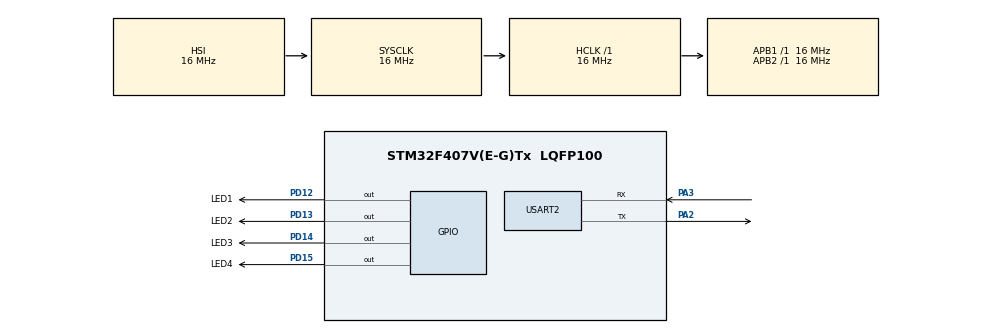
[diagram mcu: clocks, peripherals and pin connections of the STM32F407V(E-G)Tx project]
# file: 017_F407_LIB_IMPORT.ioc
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Dma.Request0=USART2_RX
Dma.Request1=USART2_TX
Dma.USART2_RX.0.Direction=DMA_PERIPH_TO_MEMORY
Dma.USART2_RX.0.FIFOMode=DMA_FIFOMODE_DISABLE
Dma.USART2_RX.0.Instance=DMA1_Stream5
Dma.USART2_RX.0.MemDataAlignment=DMA_MDATAALIGN_BYTE
Dma.USART2_RX.0.MemInc=DMA_MINC_ENABLE
Dma.USART2_RX.0.Mode=DMA_NORMAL
Dma.USART2_RX.0.PeriphDataAlignment=DMA_PDATAALIGN_BYTE
Dma.USART2_RX.0.PeriphInc=DMA_PINC_DISABLE
Dma.USART2_RX.0.Priority=DMA_PRIORITY_LOW
Dma.USART2_TX.1.Direction=DMA_MEMORY_TO_PERIPH
Dma.USART2_TX.1.FIFOMode=DMA_FIFOMODE_DISABLE
Dma.USART2_TX.1.Instance=DMA1_Stream6
Dma.USART2_TX.1.MemDataAlignment=DMA_MDATAALIGN_BYTE
Dma.USART2_TX.1.MemInc=DMA_MINC_ENABLE
Dma.USART2_TX.1.Mode=DMA_NORMAL
Dma.USART2_TX.1.PeriphDataAlignment=DMA_PDATAALIGN_BYTE
Dma.USART2_TX.1.PeriphInc=DMA_PINC_DISABLE
Dma.USART2_TX.1.Priority=DMA_PRIORITY_LOW
Mcu.Family=STM32F4
Mcu.Name=STM32F407V(E-G)Tx
Mcu.Package=LQFP100
NVIC.DMA1_Stream5_IRQn=true\:0\:0\:false\:false\:true\:false\:true\:true
NVIC.DMA1_Stream6_IRQn=true\:0\:0\:false\:false\:true\:false\:true\:true
NVIC.PriorityGroup=NVIC_PRIORITYGROUP_4
NVIC.TIM1_UP_TIM10_IRQn=true\:0\:0\:false\:false\:true\:true\:true\:true
NVIC.USART2_IRQn=true\:0\:0\:false\:false\:true\:true\:true\:true
PA13.Mode=Serial_Wire
PA13.Signal=SYS_JTMS-SWDIO
PA14.Mode=Serial_Wire
PA14.Signal=SYS_JTCK-SWCLK
PA2.Mode=Asynchronous
PA2.Signal=USART2_TX
PA3.Mode=Asynchronous
PA3.Signal=USART2_RX
PC14-OSC32_IN.Mode=LSE-External-Oscillator
PC14-OSC32_IN.Signal=RCC_OSC32_IN
PC15-OSC32_OUT.Mode=LSE-External-Oscillator
PC15-OSC32_OUT.Signal=RCC_OSC32_OUT
PD12.GPIO_Label=LED1
PD12.Signal=GPIO_Output
PD13.GPIO_Label=LED2
PD13.Signal=GPIO_Output
PD14.GPIO_Label=LED3
PD14.Signal=GPIO_Output
PD15.GPIO_Label=LED4
PD15.Signal=GPIO_Output
PH0-OSC_IN.Mode=HSE-External-Oscillator
PH0-OSC_IN.Signal=RCC_OSC_IN
PH1-OSC_OUT.Mode=HSE-External-Oscillator
PH1-OSC_OUT.Signal=RCC_OSC_OUT
ProjectManager.HeapSize=0x200
ProjectManager.StackSize=0x400
ProjectManager.TargetToolchain=STM32CubeIDE
RCC.AHBFreq_Value=16000000
RCC.APB1Freq_Value=16000000
RCC.APB2Freq_Value=16000000
RCC.CortexFreq_Value=16000000
RCC.HSE_VALUE=25000000
RCC.HSI_VALUE=16000000
RCC.SYSCLKFreq_VALUE=16000000
RCC.VCOOutputFreq_Value=192000000
USART2.VirtualMode=VM_ASYNC
VP_TIM10_VS_ClockSourceINT.Mode=Enable_Timer
VP_TIM1_VS_ClockSourceINT.Mode=Internal
board=custom

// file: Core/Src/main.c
/* USER CODE BEGIN Header */
/**
  ******************************************************************************
  * @file           : main.c
  * @brief          : Main program body
  ******************************************************************************
  * @attention
  *
  * Copyright (c) 2024 STMicroelectronics.
  * All rights reserved.
  *
  * This software is licensed under terms that can be found in the LICENSE file
  * in the root directory of this software component.
  * If no LICENSE file comes with this software, it is provided AS-IS.
  *
  ******************************************************************************
  */
/* USER CODE END Header */
#include "main.h"

/* USER CODE BEGIN Includes */
#include <PetitModbus.h>
/* USER CODE END Includes */

/* USER CODE BEGIN PD */
unsigned int c = 1 ;
unsigned char rx_putch;
/* USER CODE END PD */

TIM_HandleTypeDef htim1;
TIM_HandleTypeDef htim10;

UART_HandleTypeDef huart2;
DMA_HandleTypeDef hdma_usart2_rx;
DMA_HandleTypeDef hdma_usart2_tx;

void SystemClock_Config(void);
static void MX_GPIO_Init(void);
static void MX_DMA_Init(void);
static void MX_USART2_UART_Init(void);
static void MX_TIM1_Init(void);
static void MX_TIM10_Init(void);

int main(void)
{

  /* MCU Configuration--------------------------------------------------------*/

  /* Reset of all peripherals, Initializes the Flash interface and the Systick. */  HAL_Init();

  /* Configure the system clock */
  SystemClock_Config();

  /* Initialize all configured peripherals */
  MX_GPIO_Init();
  MX_DMA_Init();
  MX_USART2_UART_Init();
  MX_TIM1_Init();
  MX_TIM10_Init();
  /* USER CODE BEGIN 2 */
  HAL_UART_Receive_DMA(&huart2, (uint8_t *)&rx_putch , 1);

  void LEDS(){
  	  if(PetitRegisters[0].ActValue==1){
  		  HAL_GPIO_WritePin(GPIOD, LED1_Pin, GPIO_PIN_SET);
  	  }
  	  else{
  		HAL_GPIO_WritePin(GPIOD, LED1_Pin, GPIO_PIN_RESET);
  	  }
  	if(PetitRegisters[1].ActValue==1){
  	  		  HAL_GPIO_WritePin(GPIOD, LED2_Pin, GPIO_PIN_SET);
  	  	  }
  	  	  else{
  	  		HAL_GPIO_WritePin(GPIOD, LED2_Pin, GPIO_PIN_RESET);
  	  	  }
  	if(PetitRegisters[2].ActValue==1){
  	  		  HAL_GPIO_WritePin(GPIOD, LED3_Pin, GPIO_PIN_SET);
  	  	  }
  	  	  else{
  	  		HAL_GPIO_WritePin(GPIOD, LED3_Pin, GPIO_PIN_RESET);
  	  	  }
  	if(PetitRegisters[3].ActValue==1){
  	  		  HAL_GPIO_WritePin(GPIOD, LED4_Pin, GPIO_PIN_SET);
  	  	  }
  	  	  else{
  	  		HAL_GPIO_WritePin(GPIOD, LED4_Pin, GPIO_PIN_RESET);
  	  	  }

  }

	void COPY(){
		PetitRegisters[5]=PetitRegisters[4];
	}

  /* USER CODE END 2 */

  /* Infinite loop */
  while (1)
  {

    /* USER CODE BEGIN 3 */
	  InitPetitModbus(1);
	  ProcessPetitModbus();
	  LEDS();
	  COPY();
  }
  /* USER CODE END 3 */
}

void SystemClock_Config(void)
{
  RCC_OscInitTypeDef RCC_OscInitStruct = {0};
  RCC_ClkInitTypeDef RCC_ClkInitStruct = {0};

  /** Configure the main internal regulator output voltage
  */
  __HAL_RCC_PWR_CLK_ENABLE();
  __HAL_PWR_VOLTAGESCALING_CONFIG(PWR_REGULATOR_VOLTAGE_SCALE1);

  /** Initializes the RCC Oscillators according to the specified parameters
  * in the RCC_OscInitTypeDef structure.
  */
  RCC_OscInitStruct.OscillatorType = RCC_OSCILLATORTYPE_HSI;
  RCC_OscInitStruct.HSIState = RCC_HSI_ON;
  RCC_OscInitStruct.HSICalibrationValue = RCC_HSICALIBRATION_DEFAULT;
  RCC_OscInitStruct.PLL.PLLState = RCC_PLL_NONE;
  if (HAL_RCC_OscConfig(&RCC_OscInitStruct) != HAL_OK)
  {
    Error_Handler();
  }

  /** Initializes the CPU, AHB and APB buses clocks
  */
  RCC_ClkInitStruct.ClockType = RCC_CLOCKTYPE_HCLK|RCC_CLOCKTYPE_SYSCLK
                              |RCC_CLOCKTYPE_PCLK1|RCC_CLOCKTYPE_PCLK2;
  RCC_ClkInitStruct.SYSCLKSource = RCC_SYSCLKSOURCE_HSI;
  RCC_ClkInitStruct.AHBCLKDivider = RCC_SYSCLK_DIV1;
  RCC_ClkInitStruct.APB1CLKDivider = RCC_HCLK_DIV1;
  RCC_ClkInitStruct.APB2CLKDivider = RCC_HCLK_DIV1;

  if (HAL_RCC_ClockConfig(&RCC_ClkInitStruct, FLASH_LATENCY_0) != HAL_OK)
  {
    Error_Handler();
  }
}

static void MX_TIM1_Init(void)
{

  TIM_ClockConfigTypeDef sClockSourceConfig = {0};
  TIM_MasterConfigTypeDef sMasterConfig = {0};

  htim1.Instance = TIM1;
  htim1.Init.Prescaler = 0;
  htim1.Init.CounterMode = TIM_COUNTERMODE_UP;
  htim1.Init.Period = 65535;
  htim1.Init.ClockDivision = TIM_CLOCKDIVISION_DIV1;
  htim1.Init.RepetitionCounter = 0;
  htim1.Init.AutoReloadPreload = TIM_AUTORELOAD_PRELOAD_DISABLE;
  if (HAL_TIM_Base_Init(&htim1) != HAL_OK)
  {
    Error_Handler();
  }
  sClockSourceConfig.ClockSource = TIM_CLOCKSOURCE_INTERNAL;
  if (HAL_TIM_ConfigClockSource(&htim1, &sClockSourceConfig) != HAL_OK)
  {
    Error_Handler();
  }
  sMasterConfig.MasterOutputTrigger = TIM_TRGO_RESET;
  sMasterConfig.MasterSlaveMode = TIM_MASTERSLAVEMODE_DISABLE;
  if (HAL_TIMEx_MasterConfigSynchronization(&htim1, &sMasterConfig) != HAL_OK)
  {
    Error_Handler();
  }

}

static void MX_TIM10_Init(void)
{

  htim10.Instance = TIM10;
  htim10.Init.Prescaler = 0;
  htim10.Init.CounterMode = TIM_COUNTERMODE_UP;
  htim10.Init.Period = 65535;
  htim10.Init.ClockDivision = TIM_CLOCKDIVISION_DIV1;
  htim10.Init.AutoReloadPreload = TIM_AUTORELOAD_PRELOAD_DISABLE;
  if (HAL_TIM_Base_Init(&htim10) != HAL_OK)
  {
    Error_Handler();
  }

}

static void MX_USART2_UART_Init(void)
{

  huart2.Instance = USART2;
  huart2.Init.BaudRate = 115200;
  huart2.Init.WordLength = UART_WORDLENGTH_8B;
  huart2.Init.StopBits = UART_STOPBITS_1;
  huart2.Init.Parity = UART_PARITY_NONE;
  huart2.Init.Mode = UART_MODE_TX_RX;
  huart2.Init.HwFlowCtl = UART_HWCONTROL_NONE;
  huart2.Init.OverSampling = UART_OVERSAMPLING_16;
  if (HAL_UART_Init(&huart2) != HAL_OK)
  {
    Error_Handler();
  }

}

static void MX_DMA_Init(void)
{

  /* DMA controller clock enable */
  __HAL_RCC_DMA1_CLK_ENABLE();

  /* DMA interrupt init */
  /* DMA1_Stream5_IRQn interrupt configuration */
  HAL_NVIC_SetPriority(DMA1_Stream5_IRQn, 0, 0);
  HAL_NVIC_EnableIRQ(DMA1_Stream5_IRQn);
  /* DMA1_Stream6_IRQn interrupt configuration */
  HAL_NVIC_SetPriority(DMA1_Stream6_IRQn, 0, 0);
  HAL_NVIC_EnableIRQ(DMA1_Stream6_IRQn);

}

static void MX_GPIO_Init(void)
{
  GPIO_InitTypeDef GPIO_InitStruct = {0};

  /* GPIO Ports Clock Enable */
  __HAL_RCC_GPIOC_CLK_ENABLE();
  __HAL_RCC_GPIOH_CLK_ENABLE();
  __HAL_RCC_GPIOA_CLK_ENABLE();
  __HAL_RCC_GPIOD_CLK_ENABLE();

  /*Configure GPIO pin Output Level */
  HAL_GPIO_WritePin(GPIOD, LED1_Pin|LED2_Pin|LED3_Pin|LED4_Pin, GPIO_PIN_RESET);

  /*Configure GPIO pins : LED1_Pin LED2_Pin LED3_Pin LED4_Pin */
  GPIO_InitStruct.Pin = LED1_Pin|LED2_Pin|LED3_Pin|LED4_Pin;
  GPIO_InitStruct.Mode = GPIO_MODE_OUTPUT_PP;
  GPIO_InitStruct.Pull = GPIO_NOPULL;
  GPIO_InitStruct.Speed = GPIO_SPEED_FREQ_LOW;
  HAL_GPIO_Init(GPIOD, &GPIO_InitStruct);

}

/* USER CODE BEGIN 4 */
void HAL_UART_RxCpltCallback(UART_HandleTypeDef *huart){

	if (huart->Instance == USART2)  // Eğer kesme USART1'den geliyorsa
	    {
		HAL_UART_Receive_DMA(&huart2, (uint8_t *)&rx_putch , 1);
		ReceiveInterrupt(rx_putch);

	    }

}

void HAL_TIM_PeriodElapsedCallback(TIM_HandleTypeDef *htim){
	PetitModBus_TimerValues();
}

/* USER CODE END 4 */

void Error_Handler(void)
{
  __disable_irq();
  while (1)
  {
  }
}
